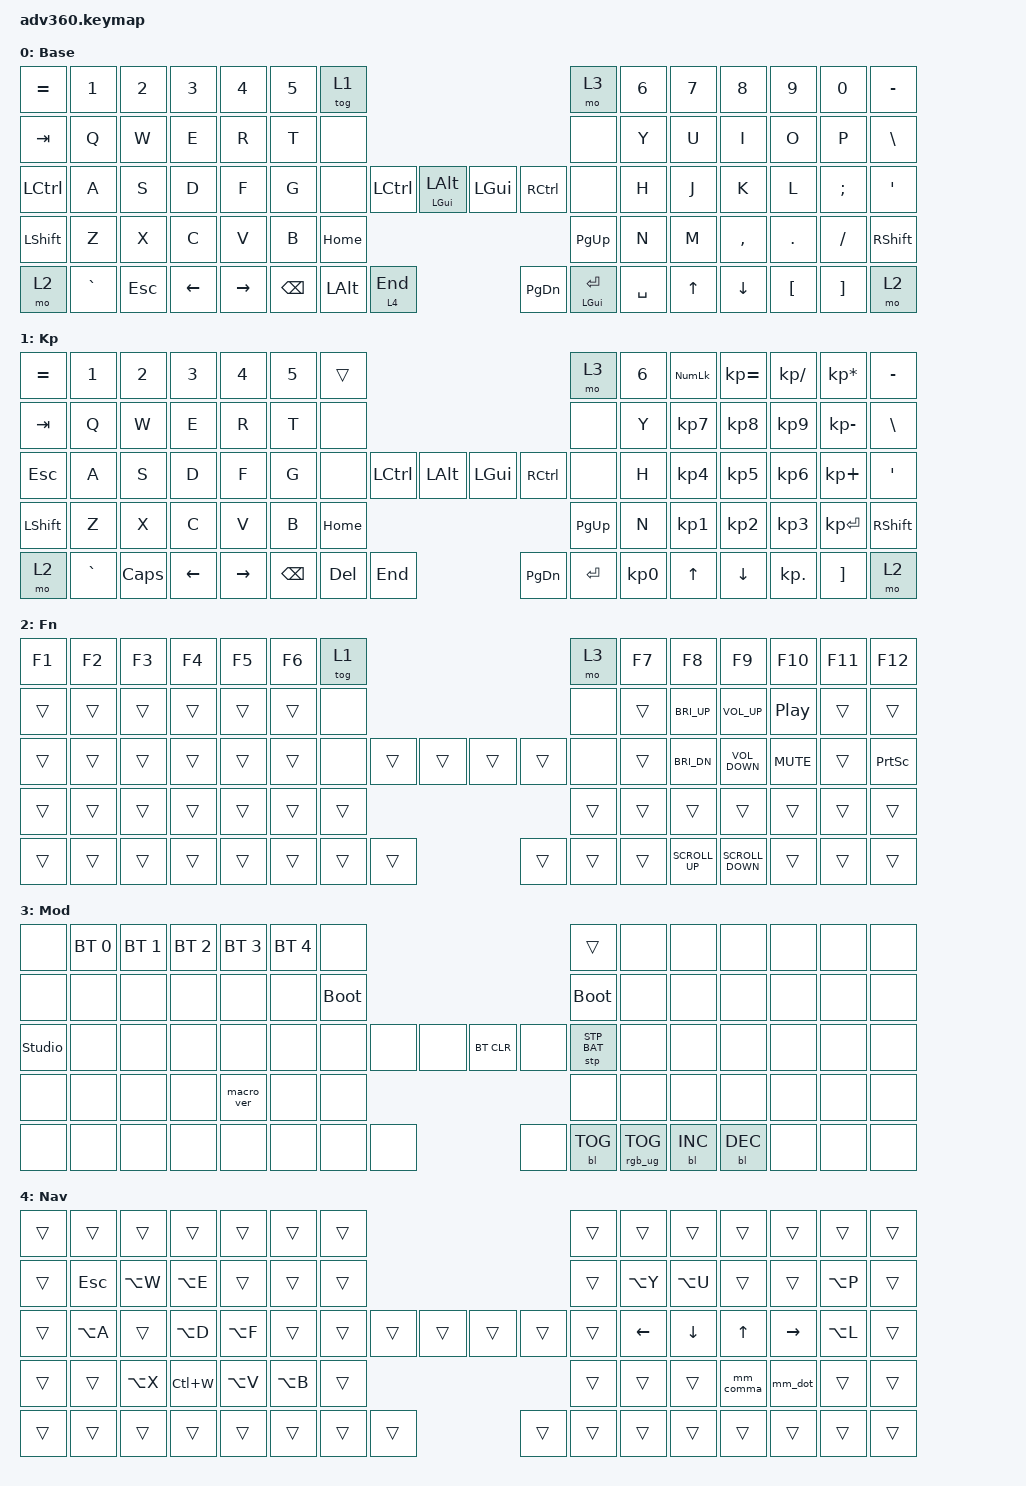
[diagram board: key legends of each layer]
#include <dt-bindings/zmk/stp.h>
#include <behaviors.dtsi>
#include <dt-bindings/zmk/backlight.h>
#include <dt-bindings/zmk/bt.h>
#include <dt-bindings/zmk/keys.h>
#include <dt-bindings/zmk/rgb.h>

/ {
    behaviors {
        #include "macros.dtsi"
      #include "version.dtsi"

        hm: homerow_mods {
            compatible = "zmk,behavior-hold-tap";
            label = "HOMEROW_MODS";
            #binding-cells = <2>;
            tapping-term-ms = <200>;
            quick_tap_ms = <175>;
            flavor = "tap-preferred";
            bindings = <&kp>, <&kp>;
        };

        mm_dot: mod_morph_dot {
            compatible = "zmk,behavior-mod-morph";
            #binding-cells = <0>;
            bindings = <&kp LA(DOT)>, <&kp LA(GT)>;

            mods = <(MOD_LSFT|MOD_RSFT)>;
        };

        mm_comma: mod_morph_comma {
            compatible = "zmk,behavior-mod-morph";
            #binding-cells = <0>;
            bindings = <&kp LA(COMMA)>, <&kp LA(LT)>;

            mods = <(MOD_LSFT|MOD_RSFT)>;
        };

        ht_enter: hold_tap_enter {
            compatible = "zmk,behavior-hold-tap";
            #binding-cells = <2>;
            tapping-term-ms = <200>;
            flavor = "tap-preferred";
            bindings = <&kp>, <&kp>;
        };
    };

    keymap {
        compatible = "zmk,keymap";

        default_layer {
            display-name = "Base";
            bindings = <
&kp EQUAL  &kp N1     &kp N2   &kp N3    &kp N4     &kp N5  &tog 1                                                              &mo 3      &kp N6  &kp N7  &kp N8     &kp N9    &kp N0    &kp MINUS
&kp TAB    &kp Q      &kp W    &kp E     &kp R      &kp T   &none                                                               &none      &kp Y   &kp U   &kp I      &kp O     &kp P     &kp BSLH
&kp LCTRL  &kp A      &kp S    &kp D     &kp F      &kp G   &none     &kp LCTRL  &hm LGUI LALT  &kp LGUI   &kp RCTRL             &none      &kp H   &kp J   &kp K      &kp L     &kp SEMI  &kp SQT
&kp LSHFT  &kp Z      &kp X    &kp C     &kp V      &kp B                        &kp HOME      &kp PG_UP                                   &kp N   &kp M   &kp COMMA  &kp DOT   &kp FSLH  &kp RSHFT
&mo 2      &kp GRAVE  &kp ESC  &kp LEFT  &kp RIGHT          &kp BSPC  &kp LALT   &lt 4 END     &kp PG_DN  &ht_enter LGUI ENTER  &kp SPACE          &kp UP  &kp DOWN   &kp LBKT  &kp RBKT  &mo 2
            >;
        };

        keypad {
            display-name = "Kp";
            bindings = <
&kp EQUAL  &kp N1     &kp N2    &kp N3    &kp N4     &kp N5  &trans                                                   &mo 3      &kp N6  &kp KP_NUM  &kp KP_EQUAL  &kp KP_DIVIDE  &kp KP_MULTIPLY  &kp MINUS
&kp TAB    &kp Q      &kp W     &kp E     &kp R      &kp T   &none                                                    &none      &kp Y   &kp KP_N7   &kp KP_N8     &kp KP_N9      &kp KP_MINUS     &kp BSLH
&kp ESC    &kp A      &kp S     &kp D     &kp F      &kp G   &none     &kp LCTRL  &kp LALT      &kp LGUI   &kp RCTRL  &none      &kp H   &kp KP_N4   &kp KP_N5     &kp KP_N6      &kp KP_PLUS      &kp SQT
&kp LSHFT  &kp Z      &kp X     &kp C     &kp V      &kp B                        &kp HOME      &kp PG_UP                        &kp N   &kp KP_N1   &kp KP_N2     &kp KP_N3      &kp KP_ENTER     &kp RSHFT
&mo 2      &kp GRAVE  &kp CAPS  &kp LEFT  &kp RIGHT          &kp BSPC  &kp DEL    &kp END       &kp PG_DN  &kp ENTER  &kp KP_N0          &kp UP      &kp DOWN      &kp KP_DOT     &kp RBKT         &mo 2
            >;
        };

        fn {
            display-name = "Fn";
            bindings = <
&kp F1  &kp F2  &kp F3  &kp F4  &kp F5  &kp F6  &tog 1                                      &mo 3   &kp F7  &kp F8           &kp F9             &kp F10     &kp F11  &kp F12
&trans  &trans  &trans  &trans  &trans  &trans  &none                                       &none   &trans  &kp C_BRI_UP     &kp C_VOLUME_UP    &kp C_PP    &trans   &trans
&trans  &trans  &trans  &trans  &trans  &trans  &none   &trans  &trans      &trans  &trans  &none   &trans  &kp C_BRI_DN     &kp C_VOLUME_DOWN  &kp C_MUTE  &trans   &kp PSCRN
&trans  &trans  &trans  &trans  &trans  &trans                  &trans      &trans                  &trans  &trans           &trans             &trans      &trans   &trans
&trans  &trans  &trans  &trans  &trans          &trans  &trans  &trans      &trans  &trans  &trans          &kp K_SCROLL_UP  &kp K_SCROLL_DOWN  &trans      &trans   &trans
            >;
        };

        mod {
            display-name = "Mod";
            bindings = <
&none           &bt BT_SEL 0  &bt BT_SEL 1  &bt BT_SEL 2  &bt BT_SEL 3  &bt BT_SEL 4  &none                                                  &trans           &none  &none       &none       &none  &none  &none
&none           &none         &none         &none         &none         &none         &bootloader                                            &bootloader      &none  &none       &none       &none  &none  &none
&studio_unlock  &none         &none         &none         &none         &none         &none        &none  &none      &bt BT_CLR  &none       &stp STP_BAT     &none  &none       &none       &none  &none  &none
&none           &none         &none         &none         &macro_ver    &none                             &none      &none                                    &none  &none       &none       &none  &none  &none
&none           &none         &none         &none         &none                       &none        &none  &none      &none       &bl BL_TOG  &rgb_ug RGB_TOG         &bl BL_INC  &bl BL_DEC  &none  &none  &none
            >;
        };

        nav {
            display-name = "Nav";
            bindings = <
&trans  &trans      &trans     &trans     &trans     &trans     &trans                                      &trans  &trans     &trans     &trans     &trans     &trans     &trans
&trans  &kp ESCAPE  &kp LA(W)  &kp LA(E)  &trans     &trans     &trans                                      &trans  &kp LA(Y)  &kp LA(U)  &trans     &trans     &kp LA(P)  &trans
&trans  &kp LA(A)   &trans     &kp LA(D)  &kp LA(F)  &trans     &trans  &trans  &trans      &trans  &trans  &trans  &kp LEFT   &kp DOWN   &kp UP     &kp RIGHT  &kp LA(L)  &trans
&trans  &trans      &kp LA(X)  &kp LC(W)  &kp LA(V)  &kp LA(B)                  &trans      &trans                  &trans     &trans     &mm_comma  &mm_dot    &trans     &trans
&trans  &trans      &trans     &trans     &trans                &trans  &trans  &trans      &trans  &trans  &trans             &trans     &trans     &trans     &trans     &trans
            >;
        };

        extra2 {
            display-name = "Purple";
            status = "reserved";
        };

        extra3 {
            display-name = "Cyan";
            status = "reserved";
        };

        extra4 {
            display-name = "Yellow";
            status = "reserved";
        };
    };
};
